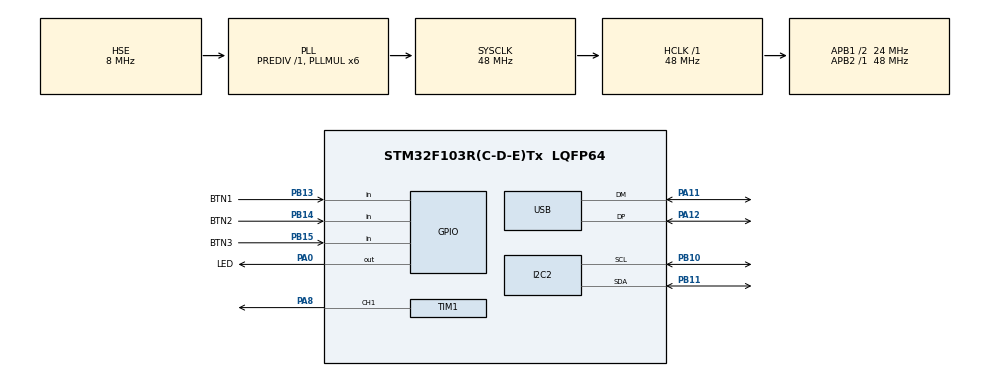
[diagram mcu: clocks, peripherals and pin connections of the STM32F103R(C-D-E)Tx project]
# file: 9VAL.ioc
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I2C2.I2C_Mode=I2C_Fast
IWDG.Prescaler=IWDG_PRESCALER_32
IWDG.Reload=3749
Mcu.Family=STM32F1
Mcu.Name=STM32F103R(C-D-E)Tx
Mcu.Package=LQFP64
NVIC.PriorityGroup=NVIC_PRIORITYGROUP_4
NVIC.RTC_IRQn=true\:2\:0\:true\:false\:true\:true\:true\:true
NVIC.TIM1_CC_IRQn=true\:0\:0\:false\:false\:true\:true\:true\:true
NVIC.TIM2_IRQn=true\:0\:0\:false\:false\:true\:true\:true\:true
NVIC.USB_LP_CAN1_RX0_IRQn=true\:0\:0\:false\:false\:true\:false\:true\:true
PA0-WKUP.GPIO_Label=LED
PA0-WKUP.Signal=GPIO_Output
PA11.Mode=Device
PA11.Signal=USB_DM
PA12.Mode=Device
PA12.Signal=USB_DP
PA13.Mode=Serial_Wire
PA13.Signal=SYS_JTMS-SWDIO
PA14.Mode=Serial_Wire
PA14.Signal=SYS_JTCK-SWCLK
PA8.Signal=S_TIM1_CH1
PB10.Mode=I2C
PB10.Signal=I2C2_SCL
PB11.Mode=I2C
PB11.Signal=I2C2_SDA
PB13.GPIO_Label=BTN1
PB13.GPIO_PuPd=GPIO_PULLUP
PB13.Signal=GPIO_Input
PB14.GPIO_Label=BTN2
PB14.GPIO_PuPd=GPIO_PULLUP
PB14.Signal=GPIO_Input
PB15.GPIO_Label=BTN3
PB15.GPIO_PuPd=GPIO_PULLUP
PB15.Signal=GPIO_Input
PC14-OSC32_IN.Mode=LSE-External-Oscillator
PC14-OSC32_IN.Signal=RCC_OSC32_IN
PC15-OSC32_OUT.Mode=LSE-External-Oscillator
PC15-OSC32_OUT.Signal=RCC_OSC32_OUT
PD0-OSC_IN.Mode=HSE-External-Oscillator
PD0-OSC_IN.Signal=RCC_OSC_IN
PD1-OSC_OUT.Mode=HSE-External-Oscillator
PD1-OSC_OUT.Signal=RCC_OSC_OUT
ProjectManager.HeapSize=0x200
ProjectManager.StackSize=0x400
ProjectManager.TargetToolchain=Makefile
RCC.AHBFreq_Value=48000000
RCC.APB1CLKDivider=RCC_HCLK_DIV2
RCC.APB1Freq_Value=24000000
RCC.APB1TimFreq_Value=48000000
RCC.APB2Freq_Value=48000000
RCC.APB2TimFreq_Value=48000000
RCC.HCLKFreq_Value=48000000
RCC.PLLMUL=RCC_PLL_MUL6
RCC.RTCClockSelection=RCC_RTCCLKSOURCE_LSE
RCC.SYSCLKFreq_VALUE=48000000
RCC.SYSCLKSource=RCC_SYSCLKSOURCE_PLLCLK
RCC.USBFreq_Value=48000000
RTC.Format=RTC_FORMAT_BIN
RTC.Hours=12
RTC.Year=23
SH.S_TIM1_CH1.0=TIM1_CH1,PWM Generation1 CH1
TIM1.AutoReloadPreload=TIM_AUTORELOAD_PRELOAD_ENABLE
TIM1.Channel-PWM\ Generation1\ CH1=TIM_CHANNEL_1
TIM1.Period=45535
TIM1.Pulse-PWM\ Generation1\ CH1=15000
TIM2.AutoReloadPreload=TIM_AUTORELOAD_PRELOAD_ENABLE
TIM2.Channel-Output\ Compare1\ No\ Output=TIM_CHANNEL_1
TIM2.ClockDivision=TIM_CLOCKDIVISION_DIV4
TIM2.Period=29800
TIM2.Prescaler=200
USB_DEVICE.CLASS_NAME_FS=CDC
USB_DEVICE.VirtualMode=Cdc
USB_DEVICE.VirtualModeFS=Cdc_FS
VP_IWDG_VS_IWDG.Mode=IWDG_Activate
VP_RTC_No_RTC_Output.Mode=RTC_OUT_NO
VP_RTC_VS_RTC_Activate.Mode=RTC_Enabled
VP_RTC_VS_RTC_Calendar.Mode=RTC_Calendar
VP_TIM1_VS_ClockSourceINT.Mode=Internal
VP_TIM2_VS_ClockSourceINT.Mode=Internal
VP_TIM2_VS_no_output1.Mode=Output Compare1 No Output
VP_USB_DEVICE_VS_USB_DEVICE_CDC_FS.Mode=CDC_FS
board=custom

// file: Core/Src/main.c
/* USER CODE BEGIN Header */
/**
  ******************************************************************************
  * @file           : main.c
  * @brief          : RTC 9H
  ******************************************************************************
  * @attention
  *
  * Copyright (c) 2023 STMicroelectronics.
  * All rights reserved.
  *
  * This software is licensed under terms that can be found in the LICENSE file
  * in the root directory of this software component.
  * If no LICENSE file comes with this software, it is provided AS-IS.
  *
  ******************************************************************************
  */
/* USER CODE END Header */
#include "main.h"
#include "usb_device.h"

/* USER CODE BEGIN Includes */
#include "USER/user.c"
/* USER CODE END Includes */

I2C_HandleTypeDef hi2c2;

IWDG_HandleTypeDef hiwdg;

RTC_HandleTypeDef hrtc;

TIM_HandleTypeDef htim1;
TIM_HandleTypeDef htim2;

void SystemClock_Config(void);
static void MX_GPIO_Init(void);
static void MX_RTC_Init(void);
static void MX_TIM1_Init(void);
static void MX_I2C2_Init(void);
static void MX_IWDG_Init(void);
static void MX_TIM2_Init(void);

int main(void)
{

  /* MCU Configuration--------------------------------------------------------*/

  /* Reset of all peripherals, Initializes the Flash interface and the Systick. */
  HAL_Init();

  /* Configure the system clock */
  SystemClock_Config();

  /* Initialize all configured peripherals */
  MX_GPIO_Init();
  MX_RTC_Init();
  MX_TIM1_Init();
  MX_USB_DEVICE_Init();
  MX_I2C2_Init();
  MX_IWDG_Init();
  MX_TIM2_Init();
  /* USER CODE BEGIN 2 */
user_init();
  /* USER CODE END 2 */

  /* Infinite loop */
  while (1)
  {

    /* USER CODE BEGIN 3 */
	user_loop();
  }
  /* USER CODE END 3 */
}

void SystemClock_Config(void)
{
  RCC_OscInitTypeDef RCC_OscInitStruct = {0};
  RCC_ClkInitTypeDef RCC_ClkInitStruct = {0};
  RCC_PeriphCLKInitTypeDef PeriphClkInit = {0};

  /** Initializes the RCC Oscillators according to the specified parameters
  * in the RCC_OscInitTypeDef structure.
  */
  RCC_OscInitStruct.OscillatorType = RCC_OSCILLATORTYPE_LSI|RCC_OSCILLATORTYPE_HSE
                              |RCC_OSCILLATORTYPE_LSE;
  RCC_OscInitStruct.HSEState = RCC_HSE_ON;
  RCC_OscInitStruct.HSEPredivValue = RCC_HSE_PREDIV_DIV1;
  RCC_OscInitStruct.LSEState = RCC_LSE_ON;
  RCC_OscInitStruct.HSIState = RCC_HSI_ON;
  RCC_OscInitStruct.LSIState = RCC_LSI_ON;
  RCC_OscInitStruct.PLL.PLLState = RCC_PLL_ON;
  RCC_OscInitStruct.PLL.PLLSource = RCC_PLLSOURCE_HSE;
  RCC_OscInitStruct.PLL.PLLMUL = RCC_PLL_MUL6;
  if (HAL_RCC_OscConfig(&RCC_OscInitStruct) != HAL_OK)
  {
    Error_Handler();
  }

  /** Initializes the CPU, AHB and APB buses clocks
  */
  RCC_ClkInitStruct.ClockType = RCC_CLOCKTYPE_HCLK|RCC_CLOCKTYPE_SYSCLK
                              |RCC_CLOCKTYPE_PCLK1|RCC_CLOCKTYPE_PCLK2;
  RCC_ClkInitStruct.SYSCLKSource = RCC_SYSCLKSOURCE_PLLCLK;
  RCC_ClkInitStruct.AHBCLKDivider = RCC_SYSCLK_DIV1;
  RCC_ClkInitStruct.APB1CLKDivider = RCC_HCLK_DIV2;
  RCC_ClkInitStruct.APB2CLKDivider = RCC_HCLK_DIV1;

  if (HAL_RCC_ClockConfig(&RCC_ClkInitStruct, FLASH_LATENCY_1) != HAL_OK)
  {
    Error_Handler();
  }
  PeriphClkInit.PeriphClockSelection = RCC_PERIPHCLK_RTC|RCC_PERIPHCLK_USB;
  PeriphClkInit.RTCClockSelection = RCC_RTCCLKSOURCE_LSE;
  PeriphClkInit.UsbClockSelection = RCC_USBCLKSOURCE_PLL;
  if (HAL_RCCEx_PeriphCLKConfig(&PeriphClkInit) != HAL_OK)
  {
    Error_Handler();
  }
}

static void MX_I2C2_Init(void)
{

  hi2c2.Instance = I2C2;
  hi2c2.Init.ClockSpeed = 400000;
  hi2c2.Init.DutyCycle = I2C_DUTYCYCLE_2;
  hi2c2.Init.OwnAddress1 = 0;
  hi2c2.Init.AddressingMode = I2C_ADDRESSINGMODE_7BIT;
  hi2c2.Init.DualAddressMode = I2C_DUALADDRESS_DISABLE;
  hi2c2.Init.OwnAddress2 = 0;
  hi2c2.Init.GeneralCallMode = I2C_GENERALCALL_DISABLE;
  hi2c2.Init.NoStretchMode = I2C_NOSTRETCH_DISABLE;
  if (HAL_I2C_Init(&hi2c2) != HAL_OK)
  {
    Error_Handler();
  }

}

static void MX_IWDG_Init(void)
{

  hiwdg.Instance = IWDG;
  hiwdg.Init.Prescaler = IWDG_PRESCALER_32;
  hiwdg.Init.Reload = 3749;
  if (HAL_IWDG_Init(&hiwdg) != HAL_OK)
  {
    Error_Handler();
  }

}

static void MX_RTC_Init(void)
{

  RTC_TimeTypeDef sTime = {0};
  RTC_DateTypeDef DateToUpdate = {0};

  /* USER CODE BEGIN RTC_Init 1 */
  hrtc.Instance = RTC;
  hrtc.Init.AsynchPrediv = RTC_AUTO_1_SECOND;
  hrtc.Init.OutPut = RTC_OUTPUTSOURCE_ALARM;
  if ((RCC->BDCR & RCC_BDCR_RTCEN) == 0) {
  /* USER CODE END RTC_Init 1 */

  /** Initialize RTC Only
  */
  hrtc.Instance = RTC;
  hrtc.Init.AsynchPrediv = RTC_AUTO_1_SECOND;
  hrtc.Init.OutPut = RTC_OUTPUTSOURCE_NONE;
  if (HAL_RTC_Init(&hrtc) != HAL_OK)
  {
    Error_Handler();
  }

  /* USER CODE BEGIN Check_RTC_BKUP */
  } else
    {
	  HAL_NVIC_SetPriority(RTC_IRQn,15,0);
	  HAL_NVIC_EnableIRQ(RTC_IRQn);
	  HAL_PWR_EnableBkUpAccess(); //del backup ijungimo?!
	  __HAL_RCC_BKP_CLK_ENABLE(); //del backup ijungimo?!
	}
	if(HAL_RTCEx_BKUPRead(&hrtc,RTC_BKP_DR1)!= 0x5051)
	{
  /* USER CODE END Check_RTC_BKUP */

  /** Initialize RTC and set the Time and Date
  */
  sTime.Hours = 12;
  sTime.Minutes = 0;
  sTime.Seconds = 0;

  if (HAL_RTC_SetTime(&hrtc, &sTime, RTC_FORMAT_BIN) != HAL_OK)
  {
    Error_Handler();
  }
  DateToUpdate.WeekDay = RTC_WEEKDAY_MONDAY;
  DateToUpdate.Month = RTC_MONTH_JANUARY;
  DateToUpdate.Date = 1;
  DateToUpdate.Year = 23;

  if (HAL_RTC_SetDate(&hrtc, &DateToUpdate, RTC_FORMAT_BIN) != HAL_OK)
  {
    Error_Handler();
  }
  /* USER CODE BEGIN RTC_Init 2 */

  HAL_RTCEx_BKUPWrite(&hrtc, ST_H, 8U);
  HAL_RTCEx_BKUPWrite(&hrtc, ST_M, 0U);

	} // Kitame user code virsuje yra IF komanda. Cia ji uzsidaro.
  // LAIKAS BUVO ISSAUGOTAS, NES USER REGISTRAS TURI MAGIC skaiciu 0x5051

// LAIKRODZIO TIKRINIMAS

/* read RTC for time */
//	HAL_RTC_GetTime(&hrtc, &currTime, RTC_FORMAT_BIN);
/* read time seconds for epoch */
// uint32_t nowsecons=currTime.Hours*3600+currTime.Minutes*60+currTime.Seconds+(dienos.Date-1)*86400;

//KALENDORIAUS TIKRINIMAS

	//RTC kalendorius FAIL! Pas F103 jo ir nera. Cold boot su gyvu RTC
//	RTC_DateTypeDef dienos= {0};
//	HAL_RTC_GetDate(&hrtc, &dienos, RTC_FORMAT_BIN);
//	if(dienos.Year < 20) {rtc_check_screwd_calendar();}

//HAL_RTC_GetTime(&hrtc, &currTime, RTC_FORMAT_BIN);

//Cia irasom MAGIC skaiciu. Jis po pilno reseto ir RTC mirties turi neislikti.
	HAL_RTCEx_BKUPWrite(&hrtc, RTC_BKP_DR1, 0x5051);//Write data to the specified backing area register

//HAL_RTCEx_SetSmoothCalib(&hrtc,0,0,10);
  /* USER CODE END RTC_Init 2 */

}

static void MX_TIM1_Init(void)
{

  TIM_ClockConfigTypeDef sClockSourceConfig = {0};
  TIM_MasterConfigTypeDef sMasterConfig = {0};
  TIM_OC_InitTypeDef sConfigOC = {0};
  TIM_BreakDeadTimeConfigTypeDef sBreakDeadTimeConfig = {0};

  htim1.Instance = TIM1;
  htim1.Init.Prescaler = 0;
  htim1.Init.CounterMode = TIM_COUNTERMODE_UP;
  htim1.Init.Period = 45535;
  htim1.Init.ClockDivision = TIM_CLOCKDIVISION_DIV1;
  htim1.Init.RepetitionCounter = 0;
  htim1.Init.AutoReloadPreload = TIM_AUTORELOAD_PRELOAD_ENABLE;
  if (HAL_TIM_Base_Init(&htim1) != HAL_OK)
  {
    Error_Handler();
  }
  sClockSourceConfig.ClockSource = TIM_CLOCKSOURCE_INTERNAL;
  if (HAL_TIM_ConfigClockSource(&htim1, &sClockSourceConfig) != HAL_OK)
  {
    Error_Handler();
  }
  if (HAL_TIM_PWM_Init(&htim1) != HAL_OK)
  {
    Error_Handler();
  }
  sMasterConfig.MasterOutputTrigger = TIM_TRGO_RESET;
  sMasterConfig.MasterSlaveMode = TIM_MASTERSLAVEMODE_DISABLE;
  if (HAL_TIMEx_MasterConfigSynchronization(&htim1, &sMasterConfig) != HAL_OK)
  {
    Error_Handler();
  }
  sConfigOC.OCMode = TIM_OCMODE_PWM1;
  sConfigOC.Pulse = 15000;
  sConfigOC.OCPolarity = TIM_OCPOLARITY_HIGH;
  sConfigOC.OCNPolarity = TIM_OCNPOLARITY_HIGH;
  sConfigOC.OCFastMode = TIM_OCFAST_DISABLE;
  sConfigOC.OCIdleState = TIM_OCIDLESTATE_RESET;
  sConfigOC.OCNIdleState = TIM_OCNIDLESTATE_RESET;
  if (HAL_TIM_PWM_ConfigChannel(&htim1, &sConfigOC, TIM_CHANNEL_1) != HAL_OK)
  {
    Error_Handler();
  }
  sBreakDeadTimeConfig.OffStateRunMode = TIM_OSSR_DISABLE;
  sBreakDeadTimeConfig.OffStateIDLEMode = TIM_OSSI_DISABLE;
  sBreakDeadTimeConfig.LockLevel = TIM_LOCKLEVEL_OFF;
  sBreakDeadTimeConfig.DeadTime = 0;
  sBreakDeadTimeConfig.BreakState = TIM_BREAK_DISABLE;
  sBreakDeadTimeConfig.BreakPolarity = TIM_BREAKPOLARITY_HIGH;
  sBreakDeadTimeConfig.AutomaticOutput = TIM_AUTOMATICOUTPUT_DISABLE;
  if (HAL_TIMEx_ConfigBreakDeadTime(&htim1, &sBreakDeadTimeConfig) != HAL_OK)
  {
    Error_Handler();
  }
  HAL_TIM_MspPostInit(&htim1);

}

static void MX_TIM2_Init(void)
{

  TIM_ClockConfigTypeDef sClockSourceConfig = {0};
  TIM_MasterConfigTypeDef sMasterConfig = {0};
  TIM_OC_InitTypeDef sConfigOC = {0};

  htim2.Instance = TIM2;
  htim2.Init.Prescaler = 200;
  htim2.Init.CounterMode = TIM_COUNTERMODE_UP;
  htim2.Init.Period = 29800;
  htim2.Init.ClockDivision = TIM_CLOCKDIVISION_DIV4;
  htim2.Init.AutoReloadPreload = TIM_AUTORELOAD_PRELOAD_ENABLE;
  if (HAL_TIM_Base_Init(&htim2) != HAL_OK)
  {
    Error_Handler();
  }
  sClockSourceConfig.ClockSource = TIM_CLOCKSOURCE_INTERNAL;
  if (HAL_TIM_ConfigClockSource(&htim2, &sClockSourceConfig) != HAL_OK)
  {
    Error_Handler();
  }
  if (HAL_TIM_OC_Init(&htim2) != HAL_OK)
  {
    Error_Handler();
  }
  sMasterConfig.MasterOutputTrigger = TIM_TRGO_RESET;
  sMasterConfig.MasterSlaveMode = TIM_MASTERSLAVEMODE_DISABLE;
  if (HAL_TIMEx_MasterConfigSynchronization(&htim2, &sMasterConfig) != HAL_OK)
  {
    Error_Handler();
  }
  sConfigOC.OCMode = TIM_OCMODE_TIMING;
  sConfigOC.Pulse = 0;
  sConfigOC.OCPolarity = TIM_OCPOLARITY_HIGH;
  sConfigOC.OCFastMode = TIM_OCFAST_DISABLE;
  if (HAL_TIM_OC_ConfigChannel(&htim2, &sConfigOC, TIM_CHANNEL_1) != HAL_OK)
  {
    Error_Handler();
  }

}

static void MX_GPIO_Init(void)
{
  GPIO_InitTypeDef GPIO_InitStruct = {0};

  /* GPIO Ports Clock Enable */
  __HAL_RCC_GPIOC_CLK_ENABLE();
  __HAL_RCC_GPIOD_CLK_ENABLE();
  __HAL_RCC_GPIOA_CLK_ENABLE();
  __HAL_RCC_GPIOB_CLK_ENABLE();

  /*Configure GPIO pin Output Level */
  HAL_GPIO_WritePin(LED_GPIO_Port, LED_Pin, GPIO_PIN_RESET);

  /*Configure GPIO pin : LED_Pin */
  GPIO_InitStruct.Pin = LED_Pin;
  GPIO_InitStruct.Mode = GPIO_MODE_OUTPUT_PP;
  GPIO_InitStruct.Pull = GPIO_NOPULL;
  GPIO_InitStruct.Speed = GPIO_SPEED_FREQ_LOW;
  HAL_GPIO_Init(LED_GPIO_Port, &GPIO_InitStruct);

  /*Configure GPIO pins : BTN1_Pin BTN2_Pin BTN3_Pin */
  GPIO_InitStruct.Pin = BTN1_Pin|BTN2_Pin|BTN3_Pin;
  GPIO_InitStruct.Mode = GPIO_MODE_INPUT;
  GPIO_InitStruct.Pull = GPIO_PULLUP;
  HAL_GPIO_Init(GPIOB, &GPIO_InitStruct);

}

void Error_Handler(void)
{
  __disable_irq();
  while (1)
  {
  }
}
